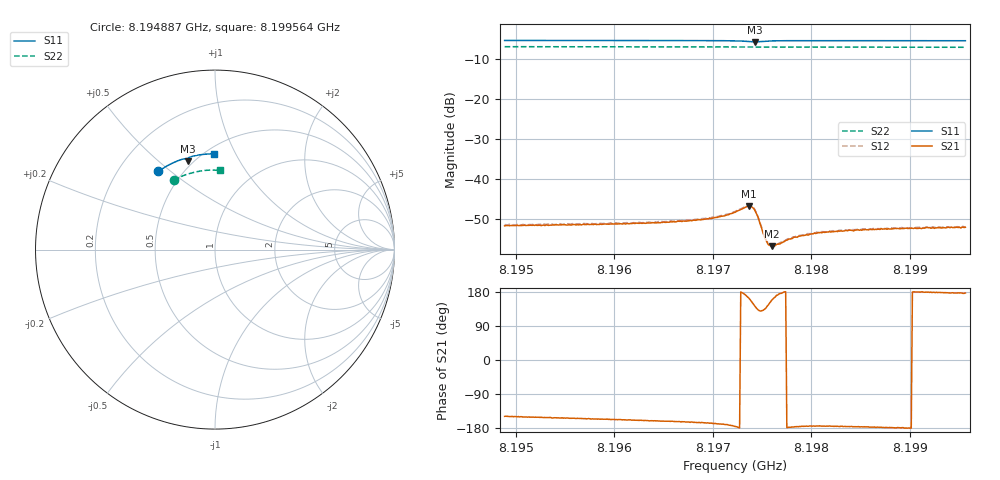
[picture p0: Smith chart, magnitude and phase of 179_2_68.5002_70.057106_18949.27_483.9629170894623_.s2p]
#  HZ  S  RI  R  50.00
! Rohde & Schwarz Vector Network Analyzer
! Rohde-Schwarz,ZNB20-2Port,1311601062101988,3.16
! Created: UTC 3/20/2024, 5:11:46 PM
! freq[Hz]  re:S11  im:S11  re:S21  im:S21  re:S12  im:S12  re:S22  im:S22
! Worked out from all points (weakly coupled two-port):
!   401 points, 8.194887 GHz to 8.199564 GHz, reference 50 ohm
!   highest |S21| = -46.80 dB at 8.197366 GHz (marker M1); lowest = -56.8 dB at 8.1976 GHz (marker M2)
!   lowest |S11| = -5.7 dB at 8.197424 GHz (marker M3), VSWR 3.14, Z = 23.4 + j31.5 ohm
!   |S11| at or under -10 dB: nowhere
!   |S22| runs from -7.1 to -6.9 dB; largest |S21 - S12| = 0.00022
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8.1948866e9  -0.3152 0.4358  -0.00222 -0.00135  -0.00236 -0.00129  -0.2291 0.3871
8.1956701e9  -0.2682 0.4655  -0.00241 -0.00117  -0.00254 -0.00111  -0.1897 0.4066
8.1961612e9  -0.2372 0.4815  -0.00256 -0.00104  -0.00263 -0.000917  -0.1641 0.4168
8.1964536e9  -0.218 0.4901  -0.00269 -0.000929  -0.00282 -0.000862  -0.1484 0.4221
8.1969565e9  -0.1829 0.5031  -0.00308 -0.000754  -0.00319 -0.000655  -0.1212 0.4298
8.1971319e9  -0.1692 0.5065  -0.00346 -0.000576  -0.00357 -0.000462  -0.1114 0.4321
8.1972254e9  -0.1607 0.507  -0.00382 -0.000317  -0.00391 -0.000174  -0.1063 0.4331
8.1973658e9  -0.1476 0.5005  -0.00438 0.00132  -0.00443 0.00153  -0.0985 0.4345
8.1974008e9  -0.148 0.4963  -0.00389 0.00211  -0.00388 0.00232  -0.0966 0.4347
8.1974242e9  -0.1501 0.4944  -0.00327 0.00249  -0.00328 0.00265  -0.0954 0.4349
8.1974593e9  -0.1542 0.4952  -0.00224 0.00245  -0.0022 0.00256  -0.0935 0.4354
8.1975178e9  -0.156 0.5019  -0.00135 0.00147  -0.00133 0.00158  -0.0906 0.4361
8.1975412e9  -0.1549 0.5046  -0.00127 0.00116  -0.00125 0.00121  -0.0892 0.4363
8.1975763e9  -0.1525 0.5077  -0.00129 0.000742  -0.0013 0.000817  -0.0873 0.4368
8.1975997e9  -0.1507 0.5094  -0.00135 0.000533  -0.00135 0.000617  -0.0859 0.4369
8.1976347e9  -0.1478 0.5115  -0.00144 0.000345  -0.00144 0.000379  -0.084 0.4373
8.19774e9  -0.1391 0.5156  -0.00171 2.65e-07  -0.00172 5.69e-05  -0.078 0.4383
8.1978335e9  -0.1318 0.5181  -0.00187 -0.000129  -0.0019 -4.55e-05  -0.0727 0.439
8.198009e9  -0.1186 0.5216  -0.00205 -0.000193  -0.00211 -0.000129  -0.0629 0.4402
8.1983715e9  -0.0923 0.5267  -0.00225 -0.000173  -0.00229 -7.08e-05  -0.0423 0.4421
8.1987925e9  -0.0623 0.5308  -0.00237 -8e-05  -0.00245 2.07e-05  -0.0186 0.4429
8.1995643e9  -0.00751 0.5336  -0.00249 0.000143  -0.00252 0.000289  0.0252 0.4412
